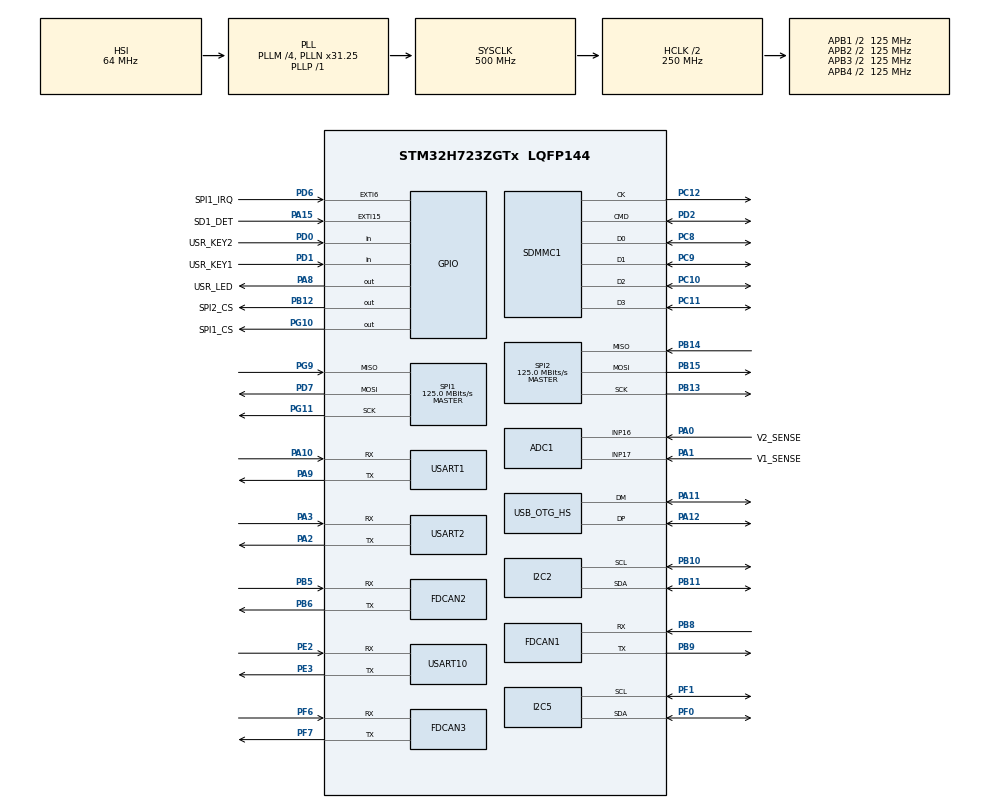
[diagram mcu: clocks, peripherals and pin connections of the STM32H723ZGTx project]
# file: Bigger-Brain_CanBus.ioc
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ADC1.Channel-1\#ChannelRegularConversion=ADC_CHANNEL_17
ADC1.NbrOfConversionFlag=1
ADC1.OffsetNumber-1\#ChannelRegularConversion=ADC_OFFSET_NONE
ADC1.OffsetSignedSaturation-1\#ChannelRegularConversion=DISABLE
ADC1.Rank-1\#ChannelRegularConversion=1
ADC1.SamplingTime-1\#ChannelRegularConversion=ADC_SAMPLETIME_1CYCLE_5
ADC1.master=1
FDCAN1.CalculateBaudRateNominal=1000000
FDCAN1.CalculateTimeBitNominal=1000
FDCAN1.CalculateTimeQuantumNominal=200.0
FDCAN1.ClockCalibrationCCU=DISABLE
FDCAN1.NominalPrescaler=5
FDCAN2.AutoRetransmission=DISABLE
FDCAN2.CalculateBaudRateNominal=1000000
FDCAN2.CalculateTimeBitNominal=1000
FDCAN2.CalculateTimeQuantumNominal=200.0
FDCAN2.Mode=FDCAN_MODE_NORMAL
FDCAN2.NominalPrescaler=5
FDCAN3.CalculateBaudRateNominal=500000
FDCAN3.CalculateTimeBitNominal=2000
FDCAN3.CalculateTimeQuantumNominal=400.0
FDCAN3.ClockCalibrationCCU=DISABLE
FDCAN3.NominalPrescaler=10
I2C2.Timing=0x20A0A3F6
I2C5.Timing=0x20A0A3F6
Mcu.Family=STM32H7
Mcu.Name=STM32H723ZGTx
Mcu.Package=LQFP144
NVIC.FDCAN1_IT0_IRQn=true\:0\:0\:false\:false\:true\:true\:true\:true
NVIC.FDCAN2_IT0_IRQn=true\:0\:0\:false\:false\:true\:true\:true\:true
NVIC.FDCAN3_IT0_IRQn=true\:0\:0\:false\:false\:true\:true\:true\:true
NVIC.OTG_HS_IRQn=true\:0\:0\:false\:false\:true\:false\:true\:true
NVIC.PriorityGroup=NVIC_PRIORITYGROUP_4
PA0.GPIO_Label=V2_SENSE
PA0.Mode=IN16-Single-Ended
PA0.Signal=ADC1_INP16
PA1.GPIO_Label=V1_SENSE
PA1.Mode=IN17-Single-Ended
PA1.Signal=ADC1_INP17
PA10.Mode=Asynchronous
PA10.Signal=USART1_RX
PA11.Mode=Device_Only_FS
PA11.Signal=USB_OTG_HS_DM
PA12.Mode=Device_Only_FS
PA12.Signal=USB_OTG_HS_DP
PA13(JTMS/SWDIO).Mode=Serial_Wire
PA13(JTMS/SWDIO).Signal=DEBUG_JTMS-SWDIO
PA14(JTCK/SWCLK).Mode=Serial_Wire
PA14(JTCK/SWCLK).Signal=DEBUG_JTCK-SWCLK
PA15(JTDI).GPIO_Label=SD1_DET
PA15(JTDI).GPIO_ModeDefaultEXTI=GPIO_MODE_IT_RISING_FALLING
PA15(JTDI).GPIO_PuPd=GPIO_PULLUP
PA15(JTDI).Signal=GPXTI15
PA2.Mode=Asynchronous
PA2.Signal=USART2_TX
PA3.Mode=Asynchronous
PA3.Signal=USART2_RX
PA8.GPIO_Label=USR_LED
PA8.GPIO_ModeDefaultOutputPP=GPIO_MODE_OUTPUT_OD
PA8.GPIO_PuPd=GPIO_NOPULL
PA8.Signal=GPIO_Output
PA9.Mode=Asynchronous
PA9.Signal=USART1_TX
PB10.Mode=I2C
PB10.Signal=I2C2_SCL
PB11.Mode=I2C
PB11.Signal=I2C2_SDA
PB12.GPIO_Label=SPI2_CS
PB12.Signal=GPIO_Output
PB13.Mode=Full_Duplex_Master
PB13.Signal=SPI2_SCK
PB14.Mode=Full_Duplex_Master
PB14.Signal=SPI2_MISO
PB15.Mode=Full_Duplex_Master
PB15.Signal=SPI2_MOSI
PB5.Mode=FDCAN_Activate
PB5.Signal=FDCAN2_RX
PB6.Mode=FDCAN_Activate
PB6.Signal=FDCAN2_TX
PB8.Mode=FDCAN_Activate
PB8.Signal=FDCAN1_RX
PB9.Mode=FDCAN_Activate
PB9.Signal=FDCAN1_TX
PC10.Mode=SD_4_bits_Wide_bus
PC10.Signal=SDMMC1_D2
PC11.Mode=SD_4_bits_Wide_bus
PC11.Signal=SDMMC1_D3
PC12.Mode=SD_4_bits_Wide_bus
PC12.Signal=SDMMC1_CK
PC14-OSC32_IN.Mode=LSE-External-Oscillator
PC14-OSC32_IN.Signal=RCC_OSC32_IN
PC15-OSC32_OUT.Mode=LSE-External-Oscillator
PC15-OSC32_OUT.Signal=RCC_OSC32_OUT
PC8.Mode=SD_4_bits_Wide_bus
PC8.Signal=SDMMC1_D0
PC9.Mode=SD_4_bits_Wide_bus
PC9.Signal=SDMMC1_D1
PD0.GPIO_Label=USR_KEY2
PD0.GPIO_PuPd=GPIO_NOPULL
PD0.Signal=GPIO_Input
PD1.GPIO_Label=USR_KEY1
PD1.Signal=GPIO_Input
PD2.Mode=SD_4_bits_Wide_bus
PD2.Signal=SDMMC1_CMD
PD6.GPIO_Label=SPI1_IRQ
PD6.Signal=GPXTI6
PD7.Mode=Full_Duplex_Master
PD7.Signal=SPI1_MOSI
PE2.Mode=Asynchronous
PE2.Signal=USART10_RX
PE3.Mode=Asynchronous
PE3.Signal=USART10_TX
PF0.Mode=I2C
PF0.Signal=I2C5_SDA
PF1.Mode=I2C
PF1.Signal=I2C5_SCL
PF6.Mode=FDCAN_Activate
PF6.Signal=FDCAN3_RX
PF7.Mode=FDCAN_Activate
PF7.Signal=FDCAN3_TX
PG10.GPIO_Label=SPI1_CS
PG10.GPIO_PuPd=GPIO_PULLUP
PG10.GPIO_Speed=GPIO_SPEED_FREQ_HIGH
PG10.PinState=GPIO_PIN_SET
PG10.Signal=GPIO_Output
PG11.Mode=Full_Duplex_Master
PG11.Signal=SPI1_SCK
PG9.Mode=Full_Duplex_Master
PG9.Signal=SPI1_MISO
PH0-OSC_IN.Mode=HSE-External-Clock-Source
PH0-OSC_IN.Signal=RCC_OSC_IN
PWR.PVDLevel=PWR_PVDLEVEL_6
ProjectManager.HeapSize=0x200
ProjectManager.StackSize=0x400
ProjectManager.TargetToolchain=STM32CubeIDE
RCC.ADCFreq_Value=96000000
RCC.APB1Freq_Value=125000000
RCC.APB2Freq_Value=125000000
RCC.APB3Freq_Value=125000000
RCC.APB4Freq_Value=125000000
RCC.CortexFreq_Value=500000000
RCC.D1PPRE=RCC_APB3_DIV2
RCC.D2PPRE1=RCC_APB1_DIV2
RCC.D2PPRE2=RCC_APB2_DIV2
RCC.D3PPRE=RCC_APB4_DIV2
RCC.DATA_CACHE_ENABLE=1
RCC.DIVM1=4
RCC.DIVM2=4
RCC.DIVN1=31
RCC.DIVN2=12
RCC.DIVP1=1
RCC.FDCANCLockSelection=RCC_FDCANCLKSOURCE_HSE
RCC.HCLKFreq_Value=250000000
RCC.HPRE=RCC_HCLK_DIV2
RCC.HSE_VALUE=25000000
RCC.INSTRUCTION_CACHE_ENABLE=1
RCC.PLL1_VCI_Range-AdvancedSettings=RCC_PLL1VCIRANGE_1
RCC.PLL1_VCO_SEL-AdvancedSettings=RCC_PLL1VCOMEDIUM
RCC.PLL2FRACN=0
RCC.PLL2_VCI_Range-AdvancedSettings=RCC_PLL2VCIRANGE_1
RCC.PLL2_VCO_SEL-AdvancedSettings=RCC_PLL2VCOWIDE
RCC.PLL3FRACN=0
RCC.PLL3_VCO_SEL-AdvancedSettings=RCC_PLL3VCOMEDIUM
RCC.PLLFRACN=2048
RCC.PREFETCH_ENABLE=1
RCC.PWREXT_OverDrive=PWREXT_OverDrive_DESACTIVATED
RCC.PWR_Regulator_Voltage_Scale=PWR_REGULATOR_VOLTAGE_SCALE0
RCC.ProductRev=revV
RCC.RCC_TIM_PRescaler_Selection=RCC_TIMPRES_ACTIVATED
RCC.SYSCLKFreq_VALUE=500000000
RCC.SYSCLKSource=RCC_SYSCLKSOURCE_PLLCLK
RCC.SupplySource=PWR_LDO_SUPPLY
RCC.USBCLockSelection=RCC_USBCLKSOURCE_HSI48
RCC.USBFreq_Value=48000000
RCC.VDD_VALUE=3.3
SPI1.CalculateBaudRate=125.0 MBits/s
SPI1.Direction=SPI_DIRECTION_2LINES
SPI1.Mode=SPI_MODE_MASTER
SPI1.VirtualType=VM_MASTER
SPI2.CalculateBaudRate=125.0 MBits/s
SPI2.Direction=SPI_DIRECTION_2LINES
SPI2.Mode=SPI_MODE_MASTER
SPI2.VirtualType=VM_MASTER
USART1.VirtualMode-Asynchronous=VM_ASYNC
USART10.VirtualMode-Asynchronous=VM_ASYNC
USART2.VirtualMode-Asynchronous=VM_ASYNC
USB_DEVICE.CLASS_NAME_HS=CDC
USB_DEVICE.MANUFACTURER_STRING=Bigger-Brain
USB_DEVICE.VirtualMode=Cdc
USB_DEVICE.VirtualModeHS=Cdc_HS
USB_OTG_HS.VirtualMode-Device_Only_FS=Device_Only_FS
VP_PWR_V_PVD_IN.Mode=Mode_PVD_Int
VP_USB_DEVICE_VS_USB_DEVICE_CDC_HS.Mode=CDC_HS
board=custom

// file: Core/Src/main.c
/* USER CODE BEGIN Header */
/**
  ******************************************************************************
  * @file           : main.c
  * @brief          : Main program body
  ******************************************************************************
  * @attention
  *
  * Copyright (c) 2024 STMicroelectronics.
  * All rights reserved.
  *
  * This software is licensed under terms that can be found in the LICENSE file
  * in the root directory of this software component.
  * If no LICENSE file comes with this software, it is provided AS-IS.
  *
  ******************************************************************************
  */
/* USER CODE END Header */
#include "main.h"
#include "usb_device.h"

/* USER CODE BEGIN Includes */

#include "usbd_cdc_if.h"
#include "stm32h7xx_hal_fdcan.h"

/* USER CODE END Includes */

ADC_HandleTypeDef hadc1;

FDCAN_HandleTypeDef hfdcan1;
FDCAN_HandleTypeDef hfdcan2;
FDCAN_HandleTypeDef hfdcan3;

I2C_HandleTypeDef hi2c2;
I2C_HandleTypeDef hi2c5;

SD_HandleTypeDef hsd1;

SPI_HandleTypeDef hspi1;
SPI_HandleTypeDef hspi2;

UART_HandleTypeDef huart1;
UART_HandleTypeDef huart2;
UART_HandleTypeDef huart10;

/* USER CODE BEGIN PV */

FDCAN_TxHeaderTypeDef TxHeader;
FDCAN_RxHeaderTypeDef RxHeader;
uint8_t TxData[] = {0xFF, 0xFE, 0xFF, 0xFE, 0xFF, 0xFE, 0xFF, 0xFE};
uint8_t RxData[16];
volatile uint32_t Instance = 0;

//FDCAN_RxHeaderTypeDef can1_rxHeader; //CAN Bus Transmit Header
//FDCAN_TxHeaderTypeDef can1_txHeader; //CAN Bus Receive Header
//uint8_t buf_can1_rx[8];  //CAN Bus Receive Buffer
//uint8_t buf_can1_tx[8];  //CAN Bus Receive Buffer
//
//
//FDCAN_RxHeaderTypeDef can2_rxHeader; //CAN Bus Transmit Header
//FDCAN_TxHeaderTypeDef can2_txHeader; //CAN Bus Receive Header
//uint8_t buf_can2_rx[8];  //CAN Bus Receive Buffer
//uint8_t buf_can2_tx[8];  //CAN Bus Receive Buffer

FDCAN_FilterTypeDef sFilterConfig;

/* USER CODE END PV */

void SystemClock_Config(void);
void PeriphCommonClock_Config(void);
static void MX_GPIO_Init(void);
static void MX_FDCAN1_Init(void);
static void MX_FDCAN2_Init(void);
static void MX_FDCAN3_Init(void);
static void MX_SDMMC1_SD_Init(void);
static void MX_I2C2_Init(void);
static void MX_SPI2_Init(void);
static void MX_USART1_UART_Init(void);
static void MX_USART2_UART_Init(void);
static void MX_ADC1_Init(void);
static void MX_I2C5_Init(void);
static void MX_SPI1_Init(void);
static void MX_USART10_UART_Init(void);

int main(void)
{

  /* MCU Configuration--------------------------------------------------------*/

  /* Reset of all peripherals, Initializes the Flash interface and the Systick. */
  HAL_Init();

  /* Configure the system clock */
  SystemClock_Config();

/* Configure the peripherals common clocks */
  PeriphCommonClock_Config();

  /* Initialize all configured peripherals */
  MX_GPIO_Init();
  MX_FDCAN1_Init();
  MX_FDCAN2_Init();
  MX_FDCAN3_Init();
  MX_SDMMC1_SD_Init();
  MX_I2C2_Init();
  MX_SPI2_Init();
  MX_USART1_UART_Init();
  MX_USART2_UART_Init();
  MX_ADC1_Init();
  MX_I2C5_Init();
  MX_SPI1_Init();
  MX_USART10_UART_Init();
  MX_USB_DEVICE_Init();
  /* USER CODE BEGIN 2 */

  sFilterConfig.IdType = FDCAN_STANDARD_ID;
  sFilterConfig.FilterType = FDCAN_FILTER_RANGE;
  sFilterConfig.FilterID1 = 0x000;
  sFilterConfig.FilterID2 = 0xFFF;
  sFilterConfig.FilterConfig = FDCAN_FILTER_TO_RXFIFO0;
  sFilterConfig.FilterIndex = 0;

  if (HAL_FDCAN_ConfigFilter(&hfdcan1, &sFilterConfig) != HAL_OK)
  {
	  Error_Handler();
  }

  if (HAL_FDCAN_ConfigFilter(&hfdcan2, &sFilterConfig) != HAL_OK)
  {
	  Error_Handler();
  }

  if (HAL_FDCAN_ConfigFilter(&hfdcan3, &sFilterConfig) != HAL_OK)
  {
	  Error_Handler();
  }

  if (HAL_FDCAN_ConfigGlobalFilter(&hfdcan1, FDCAN_ACCEPT_IN_RX_FIFO1, FDCAN_ACCEPT_IN_RX_FIFO1, FDCAN_FILTER_REMOTE, FDCAN_FILTER_REMOTE) != HAL_OK)
  {
	  Error_Handler();
  }

  if (HAL_FDCAN_ConfigGlobalFilter(&hfdcan2, FDCAN_ACCEPT_IN_RX_FIFO1, FDCAN_ACCEPT_IN_RX_FIFO1, FDCAN_REJECT_REMOTE, FDCAN_REJECT_REMOTE) != HAL_OK)
  {
	  Error_Handler();
  }

  if (HAL_FDCAN_ConfigGlobalFilter(&hfdcan3, FDCAN_ACCEPT_IN_RX_FIFO1, FDCAN_ACCEPT_IN_RX_FIFO1, FDCAN_REJECT_REMOTE, FDCAN_REJECT_REMOTE) != HAL_OK)
  {
	  Error_Handler();
  }

  if (HAL_FDCAN_ActivateNotification(&hfdcan1, FDCAN_IT_RX_FIFO0_NEW_MESSAGE, 0) != HAL_OK)
  {
	  Error_Handler();
  }

  if (HAL_FDCAN_ActivateNotification(&hfdcan2, FDCAN_IT_RX_FIFO0_NEW_MESSAGE, 0) != HAL_OK)
  {
	  Error_Handler();
  }

  if (HAL_FDCAN_ActivateNotification(&hfdcan3, FDCAN_IT_RX_FIFO0_NEW_MESSAGE, 0) != HAL_OK)
  {
	  Error_Handler();
  }

  if (HAL_FDCAN_Start(&hfdcan1) != HAL_OK)
  {
	  Error_Handler();
  }

  if (HAL_FDCAN_Start(&hfdcan2) != HAL_OK)
  {
	  Error_Handler();
  }

  if (HAL_FDCAN_Start(&hfdcan3) != HAL_OK)
  {
	  Error_Handler();
  }

  /* Prepare Tx Header */
    TxHeader.Identifier = 0x321;
    TxHeader.IdType = FDCAN_STANDARD_ID;
    TxHeader.TxFrameType = FDCAN_DATA_FRAME;
    TxHeader.DataLength = FDCAN_DLC_BYTES_8;
    TxHeader.ErrorStateIndicator = FDCAN_ESI_ACTIVE;
    TxHeader.BitRateSwitch = FDCAN_BRS_OFF;
    TxHeader.FDFormat = FDCAN_CLASSIC_CAN;
    TxHeader.TxEventFifoControl = FDCAN_NO_TX_EVENTS;
    TxHeader.MessageMarker = 0;

  /* USER CODE END 2 */

  /* Infinite loop */
  while (1)
  {

    /* USER CODE BEGIN 3 */

	/* Start the Transmission process */
//	  if (HAL_FDCAN_AddMessageToTxFifoQ(&hfdcan1, &TxHeader, TxData) != HAL_OK)
//	  {
//		/* Transmission request Error */
//		Error_Handler();
//	  }
//	  HAL_Delay(10);

	  /* Check which FDCAN instance has received messages */
	if (HAL_FDCAN_GetRxFifoFillLevel(&hfdcan1, FDCAN_RX_FIFO0) >= 1)
	{
		/* Retrieve Rx message from RX FIFO0 */
		if (HAL_FDCAN_GetRxMessage(&hfdcan1, FDCAN_RX_FIFO0, &RxHeader, RxData) != HAL_OK)
		{
		  Error_Handler();
		}

		CDC_Transmit_HS("got a message 0\n", strlen("got a message 0\n"));

	}

	if (HAL_FDCAN_GetRxFifoFillLevel(&hfdcan1, FDCAN_RX_FIFO1) >= 1)
	{
		/* Retrieve Rx message from RX FIFO0 */
		if (HAL_FDCAN_GetRxMessage(&hfdcan1, FDCAN_RX_FIFO1, &RxHeader, RxData) != HAL_OK)
		{
		  Error_Handler();
		}

		CDC_Transmit_HS("got a message 1\n", strlen("got a message 1\n"));

	}

	CDC_Transmit_HS(".\n", strlen(".\n"));
	HAL_Delay(250);

  }
  /* USER CODE END 3 */
}

void SystemClock_Config(void)
{
  RCC_OscInitTypeDef RCC_OscInitStruct = {0};
  RCC_ClkInitTypeDef RCC_ClkInitStruct = {0};

  /** Supply configuration update enable
  */
  HAL_PWREx_ConfigSupply(PWR_LDO_SUPPLY);

  /** Configure the main internal regulator output voltage
  */
  __HAL_PWR_VOLTAGESCALING_CONFIG(PWR_REGULATOR_VOLTAGE_SCALE0);

  while(!__HAL_PWR_GET_FLAG(PWR_FLAG_VOSRDY)) {}

  /** Initializes the RCC Oscillators according to the specified parameters
  * in the RCC_OscInitTypeDef structure.
  */
  RCC_OscInitStruct.OscillatorType = RCC_OSCILLATORTYPE_HSI48|RCC_OSCILLATORTYPE_HSI
                              |RCC_OSCILLATORTYPE_HSE;
  RCC_OscInitStruct.HSEState = RCC_HSE_BYPASS;
  RCC_OscInitStruct.HSIState = RCC_HSI_DIV1;
  RCC_OscInitStruct.HSICalibrationValue = 64;
  RCC_OscInitStruct.HSI48State = RCC_HSI48_ON;
  RCC_OscInitStruct.PLL.PLLState = RCC_PLL_ON;
  RCC_OscInitStruct.PLL.PLLSource = RCC_PLLSOURCE_HSI;
  RCC_OscInitStruct.PLL.PLLM = 4;
  RCC_OscInitStruct.PLL.PLLN = 31;
  RCC_OscInitStruct.PLL.PLLP = 1;
  RCC_OscInitStruct.PLL.PLLQ = 2;
  RCC_OscInitStruct.PLL.PLLR = 2;
  RCC_OscInitStruct.PLL.PLLRGE = RCC_PLL1VCIRANGE_3;
  RCC_OscInitStruct.PLL.PLLVCOSEL = RCC_PLL1VCOWIDE;
  RCC_OscInitStruct.PLL.PLLFRACN = 2048;
  if (HAL_RCC_OscConfig(&RCC_OscInitStruct) != HAL_OK)
  {
    Error_Handler();
  }

  /** Initializes the CPU, AHB and APB buses clocks
  */
  RCC_ClkInitStruct.ClockType = RCC_CLOCKTYPE_HCLK|RCC_CLOCKTYPE_SYSCLK
                              |RCC_CLOCKTYPE_PCLK1|RCC_CLOCKTYPE_PCLK2
                              |RCC_CLOCKTYPE_D3PCLK1|RCC_CLOCKTYPE_D1PCLK1;
  RCC_ClkInitStruct.SYSCLKSource = RCC_SYSCLKSOURCE_PLLCLK;
  RCC_ClkInitStruct.SYSCLKDivider = RCC_SYSCLK_DIV1;
  RCC_ClkInitStruct.AHBCLKDivider = RCC_HCLK_DIV2;
  RCC_ClkInitStruct.APB3CLKDivider = RCC_APB3_DIV2;
  RCC_ClkInitStruct.APB1CLKDivider = RCC_APB1_DIV2;
  RCC_ClkInitStruct.APB2CLKDivider = RCC_APB2_DIV2;
  RCC_ClkInitStruct.APB4CLKDivider = RCC_APB4_DIV2;

  if (HAL_RCC_ClockConfig(&RCC_ClkInitStruct, FLASH_LATENCY_3) != HAL_OK)
  {
    Error_Handler();
  }
}

void PeriphCommonClock_Config(void)
{
  RCC_PeriphCLKInitTypeDef PeriphClkInitStruct = {0};

  /** Initializes the peripherals clock
  */
  PeriphClkInitStruct.PeriphClockSelection = RCC_PERIPHCLK_TIM;
  PeriphClkInitStruct.TIMPresSelection = RCC_TIMPRES_ACTIVATED;

  if (HAL_RCCEx_PeriphCLKConfig(&PeriphClkInitStruct) != HAL_OK)
  {
    Error_Handler();
  }
}

static void MX_ADC1_Init(void)
{

  ADC_MultiModeTypeDef multimode = {0};
  ADC_ChannelConfTypeDef sConfig = {0};

  /** Common config
  */
  hadc1.Instance = ADC1;
  hadc1.Init.ClockPrescaler = ADC_CLOCK_ASYNC_DIV1;
  hadc1.Init.Resolution = ADC_RESOLUTION_16B;
  hadc1.Init.ScanConvMode = ADC_SCAN_DISABLE;
  hadc1.Init.EOCSelection = ADC_EOC_SINGLE_CONV;
  hadc1.Init.LowPowerAutoWait = DISABLE;
  hadc1.Init.ContinuousConvMode = DISABLE;
  hadc1.Init.NbrOfConversion = 1;
  hadc1.Init.DiscontinuousConvMode = DISABLE;
  hadc1.Init.ExternalTrigConv = ADC_SOFTWARE_START;
  hadc1.Init.ExternalTrigConvEdge = ADC_EXTERNALTRIGCONVEDGE_NONE;
  hadc1.Init.ConversionDataManagement = ADC_CONVERSIONDATA_DR;
  hadc1.Init.Overrun = ADC_OVR_DATA_PRESERVED;
  hadc1.Init.LeftBitShift = ADC_LEFTBITSHIFT_NONE;
  hadc1.Init.OversamplingMode = DISABLE;
  if (HAL_ADC_Init(&hadc1) != HAL_OK)
  {
    Error_Handler();
  }

  /** Configure the ADC multi-mode
  */
  multimode.Mode = ADC_MODE_INDEPENDENT;
  if (HAL_ADCEx_MultiModeConfigChannel(&hadc1, &multimode) != HAL_OK)
  {
    Error_Handler();
  }

  /** Configure Regular Channel
  */
  sConfig.Channel = ADC_CHANNEL_17;
  sConfig.Rank = ADC_REGULAR_RANK_1;
  sConfig.SamplingTime = ADC_SAMPLETIME_1CYCLE_5;
  sConfig.SingleDiff = ADC_SINGLE_ENDED;
  sConfig.OffsetNumber = ADC_OFFSET_NONE;
  sConfig.Offset = 0;
  sConfig.OffsetSignedSaturation = DISABLE;
  if (HAL_ADC_ConfigChannel(&hadc1, &sConfig) != HAL_OK)
  {
    Error_Handler();
  }

}

static void MX_FDCAN1_Init(void)
{

  hfdcan1.Instance = FDCAN1;
  hfdcan1.Init.FrameFormat = FDCAN_FRAME_CLASSIC;
  hfdcan1.Init.Mode = FDCAN_MODE_NORMAL;
  hfdcan1.Init.AutoRetransmission = DISABLE;
  hfdcan1.Init.TransmitPause = DISABLE;
  hfdcan1.Init.ProtocolException = DISABLE;
  hfdcan1.Init.NominalPrescaler = 5;
  hfdcan1.Init.NominalSyncJumpWidth = 1;
  hfdcan1.Init.NominalTimeSeg1 = 2;
  hfdcan1.Init.NominalTimeSeg2 = 2;
  hfdcan1.Init.DataPrescaler = 1;
  hfdcan1.Init.DataSyncJumpWidth = 1;
  hfdcan1.Init.DataTimeSeg1 = 1;
  hfdcan1.Init.DataTimeSeg2 = 1;
  hfdcan1.Init.MessageRAMOffset = 0;
  hfdcan1.Init.StdFiltersNbr = 0;
  hfdcan1.Init.ExtFiltersNbr = 0;
  hfdcan1.Init.RxFifo0ElmtsNbr = 0;
  hfdcan1.Init.RxFifo0ElmtSize = FDCAN_DATA_BYTES_8;
  hfdcan1.Init.RxFifo1ElmtsNbr = 0;
  hfdcan1.Init.RxFifo1ElmtSize = FDCAN_DATA_BYTES_8;
  hfdcan1.Init.RxBuffersNbr = 0;
  hfdcan1.Init.RxBufferSize = FDCAN_DATA_BYTES_8;
  hfdcan1.Init.TxEventsNbr = 0;
  hfdcan1.Init.TxBuffersNbr = 0;
  hfdcan1.Init.TxFifoQueueElmtsNbr = 0;
  hfdcan1.Init.TxFifoQueueMode = FDCAN_TX_FIFO_OPERATION;
  hfdcan1.Init.TxElmtSize = FDCAN_DATA_BYTES_8;
  if (HAL_FDCAN_Init(&hfdcan1) != HAL_OK)
  {
    Error_Handler();
  }

}

static void MX_FDCAN2_Init(void)
{

  hfdcan2.Instance = FDCAN2;
  hfdcan2.Init.FrameFormat = FDCAN_FRAME_CLASSIC;
  hfdcan2.Init.Mode = FDCAN_MODE_NORMAL;
  hfdcan2.Init.AutoRetransmission = DISABLE;
  hfdcan2.Init.TransmitPause = DISABLE;
  hfdcan2.Init.ProtocolException = DISABLE;
  hfdcan2.Init.NominalPrescaler = 5;
  hfdcan2.Init.NominalSyncJumpWidth = 1;
  hfdcan2.Init.NominalTimeSeg1 = 2;
  hfdcan2.Init.NominalTimeSeg2 = 2;
  hfdcan2.Init.DataPrescaler = 1;
  hfdcan2.Init.DataSyncJumpWidth = 1;
  hfdcan2.Init.DataTimeSeg1 = 1;
  hfdcan2.Init.DataTimeSeg2 = 1;
  hfdcan2.Init.MessageRAMOffset = 0;
  hfdcan2.Init.StdFiltersNbr = 0;
  hfdcan2.Init.ExtFiltersNbr = 0;
  hfdcan2.Init.RxFifo0ElmtsNbr = 0;
  hfdcan2.Init.RxFifo0ElmtSize = FDCAN_DATA_BYTES_8;
  hfdcan2.Init.RxFifo1ElmtsNbr = 0;
  hfdcan2.Init.RxFifo1ElmtSize = FDCAN_DATA_BYTES_8;
  hfdcan2.Init.RxBuffersNbr = 0;
  hfdcan2.Init.RxBufferSize = FDCAN_DATA_BYTES_8;
  hfdcan2.Init.TxEventsNbr = 0;
  hfdcan2.Init.TxBuffersNbr = 0;
  hfdcan2.Init.TxFifoQueueElmtsNbr = 0;
  hfdcan2.Init.TxFifoQueueMode = FDCAN_TX_FIFO_OPERATION;
  hfdcan2.Init.TxElmtSize = FDCAN_DATA_BYTES_8;
  if (HAL_FDCAN_Init(&hfdcan2) != HAL_OK)
  {
    Error_Handler();
  }

}

static void MX_FDCAN3_Init(void)
{

  hfdcan3.Instance = FDCAN3;
  hfdcan3.Init.FrameFormat = FDCAN_FRAME_CLASSIC;
  hfdcan3.Init.Mode = FDCAN_MODE_NORMAL;
  hfdcan3.Init.AutoRetransmission = DISABLE;
  hfdcan3.Init.TransmitPause = DISABLE;
  hfdcan3.Init.ProtocolException = DISABLE;
  hfdcan3.Init.NominalPrescaler = 10;
  hfdcan3.Init.NominalSyncJumpWidth = 1;
  hfdcan3.Init.NominalTimeSeg1 = 2;
  hfdcan3.Init.NominalTimeSeg2 = 2;
  hfdcan3.Init.DataPrescaler = 1;
  hfdcan3.Init.DataSyncJumpWidth = 1;
  hfdcan3.Init.DataTimeSeg1 = 1;
  hfdcan3.Init.DataTimeSeg2 = 1;
  hfdcan3.Init.MessageRAMOffset = 0;
  hfdcan3.Init.StdFiltersNbr = 0;
  hfdcan3.Init.ExtFiltersNbr = 0;
  hfdcan3.Init.RxFifo0ElmtsNbr = 0;
  hfdcan3.Init.RxFifo0ElmtSize = FDCAN_DATA_BYTES_8;
  hfdcan3.Init.RxFifo1ElmtsNbr = 0;
  hfdcan3.Init.RxFifo1ElmtSize = FDCAN_DATA_BYTES_8;
  hfdcan3.Init.RxBuffersNbr = 0;
  hfdcan3.Init.RxBufferSize = FDCAN_DATA_BYTES_8;
  hfdcan3.Init.TxEventsNbr = 0;
  hfdcan3.Init.TxBuffersNbr = 0;
  hfdcan3.Init.TxFifoQueueElmtsNbr = 0;
  hfdcan3.Init.TxFifoQueueMode = FDCAN_TX_FIFO_OPERATION;
  hfdcan3.Init.TxElmtSize = FDCAN_DATA_BYTES_8;
  if (HAL_FDCAN_Init(&hfdcan3) != HAL_OK)
  {
    Error_Handler();
  }

}

static void MX_I2C2_Init(void)
{

  hi2c2.Instance = I2C2;
  hi2c2.Init.Timing = 0x20A0A3F6;
  hi2c2.Init.OwnAddress1 = 0;
  hi2c2.Init.AddressingMode = I2C_ADDRESSINGMODE_7BIT;
  hi2c2.Init.DualAddressMode = I2C_DUALADDRESS_DISABLE;
  hi2c2.Init.OwnAddress2 = 0;
  hi2c2.Init.OwnAddress2Masks = I2C_OA2_NOMASK;
  hi2c2.Init.GeneralCallMode = I2C_GENERALCALL_DISABLE;
  hi2c2.Init.NoStretchMode = I2C_NOSTRETCH_DISABLE;
  if (HAL_I2C_Init(&hi2c2) != HAL_OK)
  {
    Error_Handler();
  }

  /** Configure Analogue filter
  */
  if (HAL_I2CEx_ConfigAnalogFilter(&hi2c2, I2C_ANALOGFILTER_ENABLE) != HAL_OK)
  {
    Error_Handler();
  }

  /** Configure Digital filter
  */
  if (HAL_I2CEx_ConfigDigitalFilter(&hi2c2, 0) != HAL_OK)
  {
    Error_Handler();
  }

}

static void MX_I2C5_Init(void)
{

  hi2c5.Instance = I2C5;
  hi2c5.Init.Timing = 0x20A0A3F6;
  hi2c5.Init.OwnAddress1 = 0;
  hi2c5.Init.AddressingMode = I2C_ADDRESSINGMODE_7BIT;
  hi2c5.Init.DualAddressMode = I2C_DUALADDRESS_DISABLE;
  hi2c5.Init.OwnAddress2 = 0;
  hi2c5.Init.OwnAddress2Masks = I2C_OA2_NOMASK;
  hi2c5.Init.GeneralCallMode = I2C_GENERALCALL_DISABLE;
  hi2c5.Init.NoStretchMode = I2C_NOSTRETCH_DISABLE;
  if (HAL_I2C_Init(&hi2c5) != HAL_OK)
  {
    Error_Handler();
  }

  /** Configure Analogue filter
  */
  if (HAL_I2CEx_ConfigAnalogFilter(&hi2c5, I2C_ANALOGFILTER_ENABLE) != HAL_OK)
  {
    Error_Handler();
  }

  /** Configure Digital filter
  */
  if (HAL_I2CEx_ConfigDigitalFilter(&hi2c5, 0) != HAL_OK)
  {
    Error_Handler();
  }

}

static void MX_SDMMC1_SD_Init(void)
{

  hsd1.Instance = SDMMC1;
  hsd1.Init.ClockEdge = SDMMC_CLOCK_EDGE_RISING;
  hsd1.Init.ClockPowerSave = SDMMC_CLOCK_POWER_SAVE_DISABLE;
  hsd1.Init.BusWide = SDMMC_BUS_WIDE_4B;
  hsd1.Init.HardwareFlowControl = SDMMC_HARDWARE_FLOW_CONTROL_DISABLE;
  hsd1.Init.ClockDiv = 0;
  if (HAL_SD_Init(&hsd1) != HAL_OK)
  {
    Error_Handler();
  }

}

static void MX_SPI1_Init(void)
{

  /* SPI1 parameter configuration*/
  hspi1.Instance = SPI1;
  hspi1.Init.Mode = SPI_MODE_MASTER;
  hspi1.Init.Direction = SPI_DIRECTION_2LINES;
  hspi1.Init.DataSize = SPI_DATASIZE_4BIT;
  hspi1.Init.CLKPolarity = SPI_POLARITY_LOW;
  hspi1.Init.CLKPhase = SPI_PHASE_1EDGE;
  hspi1.Init.NSS = SPI_NSS_SOFT;
  hspi1.Init.BaudRatePrescaler = SPI_BAUDRATEPRESCALER_2;
  hspi1.Init.FirstBit = SPI_FIRSTBIT_MSB;
  hspi1.Init.TIMode = SPI_TIMODE_DISABLE;
  hspi1.Init.CRCCalculation = SPI_CRCCALCULATION_DISABLE;
  hspi1.Init.CRCPolynomial = 0x0;
  hspi1.Init.NSSPMode = SPI_NSS_PULSE_ENABLE;
  hspi1.Init.NSSPolarity = SPI_NSS_POLARITY_LOW;
  hspi1.Init.FifoThreshold = SPI_FIFO_THRESHOLD_01DATA;
  hspi1.Init.TxCRCInitializationPattern = SPI_CRC_INITIALIZATION_ALL_ZERO_PATTERN;
  hspi1.Init.RxCRCInitializationPattern = SPI_CRC_INITIALIZATION_ALL_ZERO_PATTERN;
  hspi1.Init.MasterSSIdleness = SPI_MASTER_SS_IDLENESS_00CYCLE;
  hspi1.Init.MasterInterDataIdleness = SPI_MASTER_INTERDATA_IDLENESS_00CYCLE;
  hspi1.Init.MasterReceiverAutoSusp = SPI_MASTER_RX_AUTOSUSP_DISABLE;
  hspi1.Init.MasterKeepIOState = SPI_MASTER_KEEP_IO_STATE_DISABLE;
  hspi1.Init.IOSwap = SPI_IO_SWAP_DISABLE;
  if (HAL_SPI_Init(&hspi1) != HAL_OK)
  {
    Error_Handler();
  }

}

static void MX_SPI2_Init(void)
{

  /* SPI2 parameter configuration*/
  hspi2.Instance = SPI2;
  hspi2.Init.Mode = SPI_MODE_MASTER;
  hspi2.Init.Direction = SPI_DIRECTION_2LINES;
  hspi2.Init.DataSize = SPI_DATASIZE_4BIT;
  hspi2.Init.CLKPolarity = SPI_POLARITY_LOW;
  hspi2.Init.CLKPhase = SPI_PHASE_1EDGE;
  hspi2.Init.NSS = SPI_NSS_SOFT;
  hspi2.Init.BaudRatePrescaler = SPI_BAUDRATEPRESCALER_2;
  hspi2.Init.FirstBit = SPI_FIRSTBIT_MSB;
  hspi2.Init.TIMode = SPI_TIMODE_DISABLE;
  hspi2.Init.CRCCalculation = SPI_CRCCALCULATION_DISABLE;
  hspi2.Init.CRCPolynomial = 0x0;
  hspi2.Init.NSSPMode = SPI_NSS_PULSE_ENABLE;
  hspi2.Init.NSSPolarity = SPI_NSS_POLARITY_LOW;
  hspi2.Init.FifoThreshold = SPI_FIFO_THRESHOLD_01DATA;
  hspi2.Init.TxCRCInitializationPattern = SPI_CRC_INITIALIZATION_ALL_ZERO_PATTERN;
  hspi2.Init.RxCRCInitializationPattern = SPI_CRC_INITIALIZATION_ALL_ZERO_PATTERN;
  hspi2.Init.MasterSSIdleness = SPI_MASTER_SS_IDLENESS_00CYCLE;
  hspi2.Init.MasterInterDataIdleness = SPI_MASTER_INTERDATA_IDLENESS_00CYCLE;
  hspi2.Init.MasterReceiverAutoSusp = SPI_MASTER_RX_AUTOSUSP_DISABLE;
  hspi2.Init.MasterKeepIOState = SPI_MASTER_KEEP_IO_STATE_DISABLE;
  hspi2.Init.IOSwap = SPI_IO_SWAP_DISABLE;
  if (HAL_SPI_Init(&hspi2) != HAL_OK)
  {
    Error_Handler();
  }

}

static void MX_USART1_UART_Init(void)
{

  huart1.Instance = USART1;
  huart1.Init.BaudRate = 115200;
  huart1.Init.WordLength = UART_WORDLENGTH_8B;
  huart1.Init.StopBits = UART_STOPBITS_1;
  huart1.Init.Parity = UART_PARITY_NONE;
  huart1.Init.Mode = UART_MODE_TX_RX;
  huart1.Init.HwFlowCtl = UART_HWCONTROL_NONE;
  huart1.Init.OverSampling = UART_OVERSAMPLING_16;
  huart1.Init.OneBitSampling = UART_ONE_BIT_SAMPLE_DISABLE;
  huart1.Init.ClockPrescaler = UART_PRESCALER_DIV1;
  huart1.AdvancedInit.AdvFeatureInit = UART_ADVFEATURE_NO_INIT;
  if (HAL_UART_Init(&huart1) != HAL_OK)
  {
    Error_Handler();
  }
  if (HAL_UARTEx_SetTxFifoThreshold(&huart1, UART_TXFIFO_THRESHOLD_1_8) != HAL_OK)
  {
    Error_Handler();
  }
  if (HAL_UARTEx_SetRxFifoThreshold(&huart1, UART_RXFIFO_THRESHOLD_1_8) != HAL_OK)
  {
    Error_Handler();
  }
  if (HAL_UARTEx_DisableFifoMode(&huart1) != HAL_OK)
  {
    Error_Handler();
  }

}

static void MX_USART2_UART_Init(void)
{

  huart2.Instance = USART2;
  huart2.Init.BaudRate = 115200;
  huart2.Init.WordLength = UART_WORDLENGTH_8B;
  huart2.Init.StopBits = UART_STOPBITS_1;
  huart2.Init.Parity = UART_PARITY_NONE;
  huart2.Init.Mode = UART_MODE_TX_RX;
  huart2.Init.HwFlowCtl = UART_HWCONTROL_NONE;
  huart2.Init.OverSampling = UART_OVERSAMPLING_16;
  huart2.Init.OneBitSampling = UART_ONE_BIT_SAMPLE_DISABLE;
  huart2.Init.ClockPrescaler = UART_PRESCALER_DIV1;
  huart2.AdvancedInit.AdvFeatureInit = UART_ADVFEATURE_NO_INIT;
  if (HAL_UART_Init(&huart2) != HAL_OK)
  {
    Error_Handler();
  }
  if (HAL_UARTEx_SetTxFifoThreshold(&huart2, UART_TXFIFO_THRESHOLD_1_8) != HAL_OK)
  {
    Error_Handler();
  }
  if (HAL_UARTEx_SetRxFifoThreshold(&huart2, UART_RXFIFO_THRESHOLD_1_8) != HAL_OK)
  {
    Error_Handler();
  }
  if (HAL_UARTEx_DisableFifoMode(&huart2) != HAL_OK)
  {
    Error_Handler();
  }

}

static void MX_USART10_UART_Init(void)
{

  huart10.Instance = USART10;
  huart10.Init.BaudRate = 115200;
  huart10.Init.WordLength = UART_WORDLENGTH_8B;
  huart10.Init.StopBits = UART_STOPBITS_1;
  huart10.Init.Parity = UART_PARITY_NONE;
  huart10.Init.Mode = UART_MODE_TX_RX;
  huart10.Init.HwFlowCtl = UART_HWCONTROL_NONE;
  huart10.Init.OverSampling = UART_OVERSAMPLING_16;
  huart10.Init.OneBitSampling = UART_ONE_BIT_SAMPLE_DISABLE;
  huart10.Init.ClockPrescaler = UART_PRESCALER_DIV1;
  huart10.AdvancedInit.AdvFeatureInit = UART_ADVFEATURE_NO_INIT;
  if (HAL_UART_Init(&huart10) != HAL_OK)
  {
    Error_Handler();
  }
  if (HAL_UARTEx_SetTxFifoThreshold(&huart10, UART_TXFIFO_THRESHOLD_1_8) != HAL_OK)
  {
    Error_Handler();
  }
  if (HAL_UARTEx_SetRxFifoThreshold(&huart10, UART_RXFIFO_THRESHOLD_1_8) != HAL_OK)
  {
    Error_Handler();
  }
  if (HAL_UARTEx_DisableFifoMode(&huart10) != HAL_OK)
  {
    Error_Handler();
  }

}

static void MX_GPIO_Init(void)
{
  GPIO_InitTypeDef GPIO_InitStruct = {0};

  /* GPIO Ports Clock Enable */
  __HAL_RCC_GPIOE_CLK_ENABLE();
  __HAL_RCC_GPIOC_CLK_ENABLE();
  __HAL_RCC_GPIOF_CLK_ENABLE();
  __HAL_RCC_GPIOH_CLK_ENABLE();
  __HAL_RCC_GPIOA_CLK_ENABLE();
  __HAL_RCC_GPIOB_CLK_ENABLE();
  __HAL_RCC_GPIOD_CLK_ENABLE();
  __HAL_RCC_GPIOG_CLK_ENABLE();

  /*Configure GPIO pin Output Level */
  HAL_GPIO_WritePin(SPI2_CS_GPIO_Port, SPI2_CS_Pin, GPIO_PIN_RESET);

  /*Configure GPIO pin Output Level */
  HAL_GPIO_WritePin(USR_LED_GPIO_Port, USR_LED_Pin, GPIO_PIN_RESET);

  /*Configure GPIO pin Output Level */
  HAL_GPIO_WritePin(SPI1_CS_GPIO_Port, SPI1_CS_Pin, GPIO_PIN_SET);

  /*Configure GPIO pin : SPI2_CS_Pin */
  GPIO_InitStruct.Pin = SPI2_CS_Pin;
  GPIO_InitStruct.Mode = GPIO_MODE_OUTPUT_PP;
  GPIO_InitStruct.Pull = GPIO_NOPULL;
  GPIO_InitStruct.Speed = GPIO_SPEED_FREQ_LOW;
  HAL_GPIO_Init(SPI2_CS_GPIO_Port, &GPIO_InitStruct);

  /*Configure GPIO pin : USR_LED_Pin */
  GPIO_InitStruct.Pin = USR_LED_Pin;
  GPIO_InitStruct.Mode = GPIO_MODE_OUTPUT_OD;
  GPIO_InitStruct.Pull = GPIO_NOPULL;
  GPIO_InitStruct.Speed = GPIO_SPEED_FREQ_LOW;
  HAL_GPIO_Init(USR_LED_GPIO_Port, &GPIO_InitStruct);

  /*Configure GPIO pin : SD1_DET_Pin */
  GPIO_InitStruct.Pin = SD1_DET_Pin;
  GPIO_InitStruct.Mode = GPIO_MODE_IT_RISING_FALLING;
  GPIO_InitStruct.Pull = GPIO_PULLUP;
  HAL_GPIO_Init(SD1_DET_GPIO_Port, &GPIO_InitStruct);

  /*Configure GPIO pins : USR_KEY2_Pin USR_KEY1_Pin */
  GPIO_InitStruct.Pin = USR_KEY2_Pin|USR_KEY1_Pin;
  GPIO_InitStruct.Mode = GPIO_MODE_INPUT;
  GPIO_InitStruct.Pull = GPIO_NOPULL;
  HAL_GPIO_Init(GPIOD, &GPIO_InitStruct);

  /*Configure GPIO pin : SPI1_IRQ_Pin */
  GPIO_InitStruct.Pin = SPI1_IRQ_Pin;
  GPIO_InitStruct.Mode = GPIO_MODE_IT_RISING;
  GPIO_InitStruct.Pull = GPIO_NOPULL;
  HAL_GPIO_Init(SPI1_IRQ_GPIO_Port, &GPIO_InitStruct);

  /*Configure GPIO pin : SPI1_CS_Pin */
  GPIO_InitStruct.Pin = SPI1_CS_Pin;
  GPIO_InitStruct.Mode = GPIO_MODE_OUTPUT_PP;
  GPIO_InitStruct.Pull = GPIO_PULLUP;
  GPIO_InitStruct.Speed = GPIO_SPEED_FREQ_HIGH;
  HAL_GPIO_Init(SPI1_CS_GPIO_Port, &GPIO_InitStruct);

}

/* USER CODE BEGIN 4 */

/**
  * @brief  Rx FIFO 0 callback.
  * @param  hfdcan pointer to an FDCAN_HandleTypeDef structure that contains
  *         the configuration information for the specified FDCAN.
  * @param  RxFifo0ITs indicates which Rx FIFO 0 interrupts are signaled.
  *         This parameter can be any combination of @arg FDCAN_Rx_Fifo0_Interrupts.
  * @retval None
  */
void HAL_FDCAN_RxFifo0Callback(FDCAN_HandleTypeDef *hfdcan, uint32_t RxFifo0ITs)
{

	char print_buf[128];
	FDCAN_RxHeaderTypeDef rxHeader;
	uint8_t rxData[64];

	uint8_t FDCAN_INST = 0xFF;
	bool rxHasError = 1;

  if( (RxFifo0ITs & FDCAN_IT_RX_FIFO0_NEW_MESSAGE) != 0)
  {
    /* Retrieve Rx messages from RX FIFO0 */
    if (HAL_FDCAN_GetRxMessage(hfdcan, FDCAN_RX_FIFO0, &rxHeader, rxData) != HAL_OK)
    {
      Error_Handler();
    }

    if (hfdcan->Instance == FDCAN1)
    {
    	FDCAN_INST = 0x01;
    }
    else if (hfdcan->Instance == FDCAN1)
    {
    	FDCAN_INST = 0x02;
    }
    else if (hfdcan->Instance == FDCAN1)
    {
    	FDCAN_INST = 0x03;
    }

    rxHasError = (rxHeader.ErrorStateIndicator == FDCAN_ESI_PASSIVE);

    sprintf(print_buf, "%zu, %x, %d, %x, %zu \n", rxHeader.RxTimestamp, FDCAN_INST, rxHasError, rxHeader.Identifier, rxHeader.DataLength);
    CDC_Transmit_HS((uint8_t*) print_buf, strlen(print_buf));
  }

  CDC_Transmit_HS("f\n",strlen("f\n"));
}

/* USER CODE END 4 */

void Error_Handler(void)
{
  /* USER CODE BEGIN Error_Handler_Debug */
  /* User can add his own implementation to report the HAL error return state */
  __disable_irq();

//  const char buf[24] = "Error Occurred...\n";
  while (1)
  {
	  for (int i = 50; i < 500; i += 50)
	  {
		  HAL_Delay(i);
		  HAL_GPIO_TogglePin(USR_LED_GPIO_Port, USR_LED_Pin);
	  }
	  CDC_Transmit_HS("Error Occurred...\n", strlen("Error Occurred...\n"));
  }
  /* USER CODE END Error_Handler_Debug */
}
